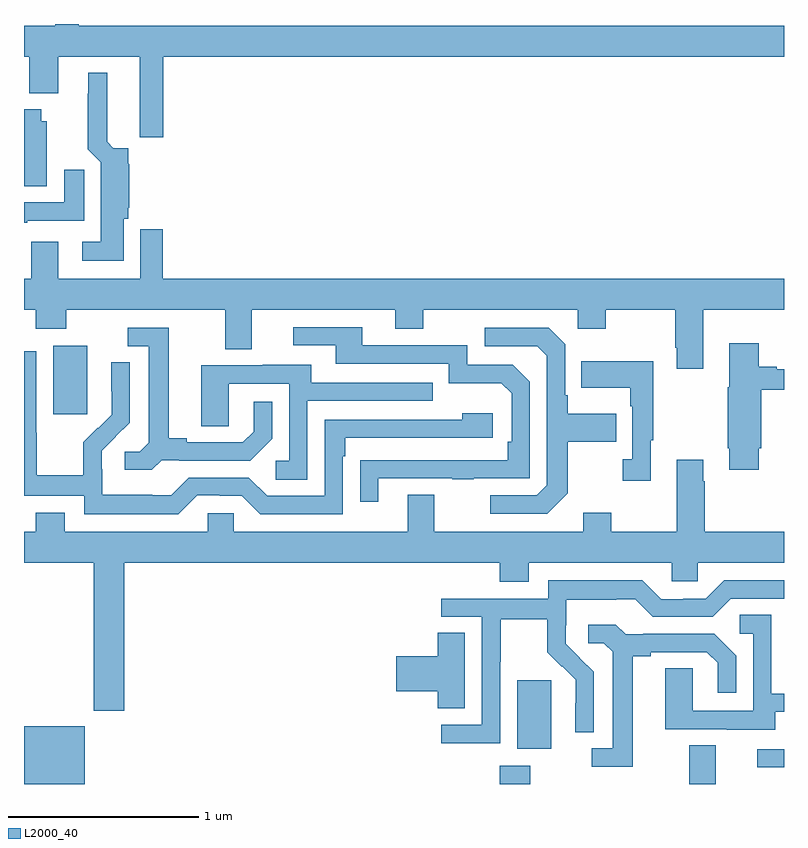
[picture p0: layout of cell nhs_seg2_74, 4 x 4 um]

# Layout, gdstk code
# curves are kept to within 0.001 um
import gdstk
lib = gdstk.Library(unit=1e-6, precision=1e-09)
def R(c, l, rs):  # rectangles x0, y0, x1, y1
    for r in rs: c.add(gdstk.rectangle(r[:2], r[2:], *l))
def P(c, l, *ps):  # polygons
    for p in ps: c.add(gdstk.Polygon(p, *l))
L2000_40 = (2000, 40)

nhs_seg2_74 = lib.new_cell('nhs_seg2_74')
R(nhs_seg2_74, L2000_40, [(113,651.8,113.32,652.105), (115.505,651.8,115.665,651.895), (116.501,651.8,116.641,652.004), (116.859,651.888,117,651.984), (115.595,651.986,115.774,652.347), (113.153,653.745,113.332,654.106)])
P(nhs_seg2_74, L2000_40, [(113.732,655.628),(117,655.628),(117,655.792),(113.288,655.792),(113.288,655.8),(113.165,655.8),(113.165,655.792),(113,655.792),(113,655.628),(113.027,655.628),(113.027,655.436),(113.179,655.436),(113.179,655.628),(113.609,655.628),(113.609,655.203),(113.732,655.203)],
  [(113.524,654.774),(113.549,654.774),(113.549,654.834),(113.555,654.834),(113.555,655.061),(113.549,655.067),(113.549,655.146),(113.47,655.146),(113.437,655.18),(113.437,655.543),(113.339,655.543),(113.339,655.433),(113.335,655.433),(113.335,655.142),(113.405,655.072),(113.405,654.655),(113.307,654.655),(113.307,654.554),(113.524,654.554)],
  [(113.119,655.287),(113.092,655.287),(113.092,655.351),(113,655.351),(113,654.946),(113.119,654.946)],
  [(113.017,654.765),(113.317,654.765),(113.317,655.033),(113.213,655.033),(113.213,654.861),(113,654.861),(113,654.753),(113.017,654.753)],
  [(116.575,654.296),(117,654.296),(117,654.46),(113.729,654.46),(113.729,654.721),(113.613,654.721),(113.613,654.46),(113.179,654.46),(113.179,654.655),(113.039,654.655),(113.039,654.46),(113,654.46),(113,654.296),(113.063,654.296),(113.063,654.197),(113.223,654.197),(113.223,654.296),(114.059,654.296),(114.059,654.088),(114.199,654.088),(114.199,654.296),(114.953,654.296),(114.953,654.197),(115.101,654.197),(115.101,654.296),(115.914,654.296),(115.914,654.197),(116.061,654.197),(116.061,654.296),(116.428,654.296),(116.428,654.097),(116.435,654.097),(116.435,653.985),(116.575,653.985)],
  [(114.865,653.409),(115.255,653.409),(115.255,653.404),(115.367,653.404),(115.367,653.409),(115.662,653.409),(115.662,653.916),(115.572,654.006),(115.332,654.006),(115.332,654.108),(114.781,654.108),(114.781,654.204),(114.417,654.204),(114.417,654.108),(114.641,654.108),(114.641,654.012),(115.236,654.012),(115.236,653.909),(115.513,653.909),(115.566,653.856),(115.566,653.602),(115.546,653.602),(115.546,653.505),(114.769,653.504),(114.769,653.286),(114.865,653.286)],
  [(113.724,653.505),(113.818,653.505),(113.818,653.502),(114.19,653.502),(114.306,653.618),(114.306,653.812),(114.209,653.812),(114.209,653.655),(114.152,653.598),(113.857,653.598),(113.857,653.621),(113.761,653.621),(113.761,654.201),(113.547,654.201),(113.547,654.105),(113.657,654.105),(113.657,653.597),(113.61,653.55),(113.529,653.55),(113.529,653.453),(113.672,653.453)],
  [(115.861,653.329),(115.861,653.602),(116.117,653.602),(116.117,653.749),(115.861,653.749),(115.861,653.845),(115.848,653.845),(115.848,654.114),(115.761,654.201),(115.425,654.201),(115.425,654.105),(115.701,654.105),(115.752,654.054),(115.752,653.373),(115.698,653.319),(115.455,653.319),(115.455,653.223),(115.755,653.223)],
  [(116.866,653.566),(116.879,653.566),(116.879,653.874),(117,653.874),(117,653.982),(116.962,653.982),(116.962,653.995),(116.866,653.995),(116.866,654.121),(116.711,654.121),(116.711,653.889),(116.704,653.889),(116.704,653.566),(116.711,653.566),(116.711,653.454),(116.866,653.454)],
  [(113.913,653.319),(114.029,653.319),(114.029,653.316),(114.147,653.316),(114.243,653.22),(114.678,653.22),(114.678,653.525),(114.691,653.525),(114.691,653.622),(115.468,653.622),(115.468,653.752),(115.307,653.752),(115.307,653.718),(114.582,653.718),(114.582,653.316),(114.279,653.316),(114.183,653.412),(113.868,653.412),(113.775,653.319),(113.675,653.319),(113.675,653.323),(113.412,653.323),(113.412,653.457),(113.41,653.457),(113.41,653.554),(113.556,653.702),(113.556,654.02),(113.46,654.02),(113.46,653.866),(113.462,653.866),(113.462,653.744),(113.391,653.673),(113.388,653.676),(113.311,653.599),(113.311,653.425),(113.067,653.425),(113.067,653.648),(113.064,653.648),(113.064,654.078),(113,654.078),(113,653.316),(113.316,653.316),(113.316,653.219),(113.813,653.219)],
  [(116.299,653.609),(116.311,653.609),(116.311,654.025),(115.933,654.025),(115.933,653.885),(116.19,653.885),(116.19,653.789),(116.202,653.789),(116.202,653.51),(116.151,653.51),(116.151,653.397),(116.299,653.397)],
  [(114.492,653.817),(115.151,653.817),(115.151,653.913),(114.511,653.913),(114.511,654.007),(114.257,654.007),(114.257,654.003),(113.933,654.003),(113.933,653.683),(114.078,653.683),(114.078,653.907),(114.396,653.907),(114.396,653.502),(114.324,653.502),(114.324,653.401),(114.492,653.401)],
  [(113.528,652.964),(115.505,652.964),(115.505,652.865),(115.657,652.865),(115.657,652.964),(116.409,652.964),(116.409,652.866),(116.547,652.866),(116.547,652.964),(117,652.964),(117,653.128),(116.583,653.128),(116.583,653.393),(116.575,653.393),(116.575,653.506),(116.435,653.506),(116.435,653.128),(116.091,653.128),(116.091,653.227),(115.943,653.227),(115.943,653.128),(115.159,653.128),(115.159,653.323),(115.019,653.323),(115.019,653.128),(114.105,653.128),(114.105,653.226),(113.967,653.226),(113.967,653.128),(113.215,653.128),(113.215,653.227),(113.063,653.227),(113.063,653.128),(113,653.128),(113,652.964),(113.368,652.964),(113.368,652.185),(113.528,652.185)],
  [(115.506,652.444),(115.509,652.444),(115.509,652.668),(115.753,652.668),(115.753,652.493),(115.83,652.416),(115.833,652.419),(115.904,652.349),(115.904,652.226),(115.902,652.226),(115.902,652.072),(115.998,652.072),(115.998,652.39),(115.852,652.538),(115.852,652.635),(115.854,652.635),(115.854,652.769),(116.117,652.769),(116.117,652.773),(116.217,652.773),(116.31,652.68),(116.625,652.68),(116.721,652.776),(117,652.776),(117,652.872),(116.685,652.872),(116.589,652.776),(116.471,652.776),(116.471,652.773),(116.355,652.773),(116.255,652.873),(115.758,652.873),(115.758,652.776),(115.197,652.776),(115.197,652.68),(115.41,652.68),(115.41,652.113),(115.197,652.113),(115.197,652.015),(115.506,652.015)],
  [(116.953,652.179),(117,652.179),(117,652.275),(116.934,652.275),(116.934,652.691),(116.766,652.691),(116.766,652.59),(116.838,652.59),(116.838,652.185),(116.52,652.185),(116.52,652.409),(116.375,652.409),(116.375,652.089),(116.699,652.089),(116.699,652.085),(116.953,652.085)],
  [(116.203,652.472),(116.299,652.472),(116.299,652.494),(116.594,652.494),(116.651,652.437),(116.651,652.281),(116.748,652.281),(116.748,652.474),(116.632,652.59),(116.26,652.59),(116.26,652.587),(116.166,652.587),(116.114,652.639),(115.971,652.639),(115.971,652.542),(116.052,652.542),(116.099,652.495),(116.099,651.987),(115.989,651.987),(115.989,651.891),(116.203,651.891)],
  [(115.321,652.595),(115.178,652.595),(115.178,652.472),(114.96,652.472),(114.96,652.289),(115.178,652.289),(115.178,652.198),(115.321,652.198)])

lib.write_gds('nhs_seg2_74.gds')
